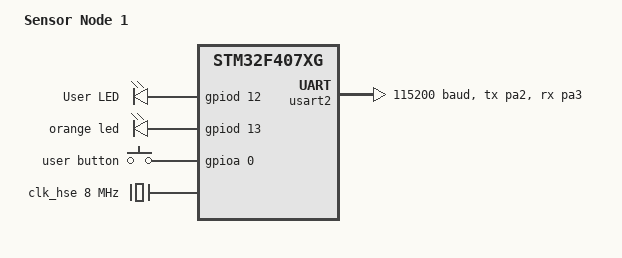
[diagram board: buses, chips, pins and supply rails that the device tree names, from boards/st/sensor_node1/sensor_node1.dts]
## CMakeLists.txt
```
cmake_minimum_required(VERSION 3.20.0)

# Makes this app's own boards/ directory discoverable to `west build -b ...`
list(APPEND BOARD_ROOT ${CMAKE_CURRENT_SOURCE_DIR})

find_package(Zephyr REQUIRED HINTS $ENV{ZEPHYR_BASE})
project(stm32_sensor_node)

# App sources
target_sources(app PRIVATE src/main.c)

# Include path for sn_logging.h
target_include_directories(app PRIVATE src/sn-logging)
```

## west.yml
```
manifest:
  version: "0.13"

  remotes:
    - name: zephyrproject-rtos
      url-base: https://github.com/zephyrproject-rtos

  projects:
    - name: zephyr
      remote: zephyrproject-rtos
      revision: v4.3.0
      import: true

  self:
    path: app
```

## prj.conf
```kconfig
# ====GPIO subsystem ======

# =====Logging=====
CONFIG_LOG=y
CONFIG_LOG_DEFAULT_LEVEL=3
CONFIG_LOG_MODE_IMMEDIATE=y
```

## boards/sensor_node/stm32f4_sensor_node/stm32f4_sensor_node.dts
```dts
/*
 * Copyright (c) 2017 Linaro Limited
 *
 * SPDX-License-Identifier: Apache-2.0
 */

/dts-v1/;
#include <st/f4/stm32f407Xg.dtsi>
#include <st/f4/stm32f407v(e-g)tx-pinctrl.dtsi>

/ {
	model = "STM32F4 Sensor Node";
	compatible = "sensor_node,stm32f4-sensor-node";

	chosen {
		zephyr,console = &usart2;
		zephyr,shell-uart = &usart2;
		zephyr,sram = &sram0;
		zephyr,flash = &flash0;
	};

	leds {
		compatible = "gpio-leds";

		green_led: led_0 {
			gpios = <&gpiod 12 GPIO_ACTIVE_HIGH>;
			label = "User LED";
		};
	};

	aliases {
		led0 = &green_led;
	};
};

&clk_hse {
	clock-frequency = <DT_FREQ_M(8)>;
	status = "okay";
};

&pll {
	div-m = <8>;
	mul-n = <336>;
	div-p = <2>;
	div-q = <7>;
	clocks = <&clk_hse>;
	status = "okay";
};

&rcc {
	clocks = <&pll>;
	clock-frequency = <DT_FREQ_M(168)>;
	ahb-prescaler = <1>;
	apb1-prescaler = <4>;
	apb2-prescaler = <2>;
};

&usart2 {
	pinctrl-0 = <&usart2_tx_pa2 &usart2_rx_pa3>;
	pinctrl-names = "default";
	current-speed = <115200>;
	status = "okay";
};
```

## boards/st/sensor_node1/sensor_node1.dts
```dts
/*
 * Copyright (c) 2017 Linaro Limited
 *
 * SPDX-License-Identifier: Apache-2.0
 */

/dts-v1/;
#include <st/f4/stm32f407Xg.dtsi>
#include <st/f4/stm32f407v(e-g)tx-pinctrl.dtsi>

/ {
	model = "Sensor Node 1";
	compatible = "st,sensor-node1";

	chosen {
		zephyr,console = &usart2;
		zephyr,shell-uart = &usart2;
		zephyr,sram = &sram0;
		zephyr,flash = &flash0;
	};

	/* Onboard LEDs - PD12/PD13 */
	leds {
		compatible = "gpio-leds";

		green_led: led_0 {
			gpios = <&gpiod 12 GPIO_ACTIVE_HIGH>;
			label = "User LED";
		};
		orange_led: led_1 {
			gpios = <&gpiod 13 GPIO_ACTIVE_HIGH>;
			label = "orange led";
		};
	};

	/* User button (B1) - PA0 */
	user_button {
		compatible = "gpio-keys";
		user_button1: button_1 {
			gpios = <&gpioa 0 GPIO_ACTIVE_HIGH>;
			label = "user button";
		};
	};

	aliases {
		led1 = &green_led;
		led2 = &orange_led;
		button1  = &user_button1;
	};
};

&clk_hse {
	clock-frequency = <DT_FREQ_M(8)>;
	status = "okay";
};

&pll {
	div-m = <8>;
	mul-n = <336>;
	div-p = <2>;
	div-q = <7>;
	clocks = <&clk_hse>;
	status = "okay";
};

&rcc {
	clocks = <&pll>;
	clock-frequency = <DT_FREQ_M(168)>;
	ahb-prescaler = <1>;
	apb1-prescaler = <4>;
	apb2-prescaler = <2>;
};

&usart2 {
	pinctrl-0 = <&usart2_tx_pa2 &usart2_rx_pa3>;
	pinctrl-names = "default";
	current-speed = <115200>;
	status = "okay";
};
```

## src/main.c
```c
#include <stdbool.h>
#include <zephyr/kernel.h>
#include <zephyr/drivers/gpio.h>

/* Logging setup */
#include "sn_logging.h"
LOG_MODULE_REGISTER(main, LOG_LEVEL_MAIN);

/* Devicetree aliases */
#define LED1_NODE   DT_ALIAS(led1)
#define LED2_NODE   DT_ALIAS(led2)
#define BUTTON_NODE DT_ALIAS(button1)

/* GPIO specs, resolved at compile time */
static const struct gpio_dt_spec led1 = GPIO_DT_SPEC_GET(LED1_NODE, gpios);
static const struct gpio_dt_spec led2 = GPIO_DT_SPEC_GET(LED2_NODE, gpios);
static const struct gpio_dt_spec button1 = GPIO_DT_SPEC_GET(BUTTON_NODE, gpios);

/* Shared with the button ISR , volatile since it's set from interrupt context */
static struct gpio_callback button_cb_data;
static volatile bool blink_enabled = true;

/* Button ISR callback */
void button_pressed(const struct device *dev, struct gpio_callback *cb, uint32_t pins)
{
	blink_enabled = !blink_enabled;
	LOG_DBG("blinking %s", blink_enabled ? "enabled" : "disabled");
}

int main(void)
{
	int ret;

	/* Readiness checks */
	if (!gpio_is_ready_dt(&led1)) {
		LOG_ERR("led1 not ready");
		return 0;
	}
	if (!gpio_is_ready_dt(&led2)) {
		LOG_ERR("led2 not ready");
		return 0;
	}
	if (!gpio_is_ready_dt(&button1)) {
		LOG_ERR("button1 not ready");
		return 0;
	}

	/* LED output config */
	ret = gpio_pin_configure_dt(&led1, GPIO_OUTPUT_ACTIVE);
	if (ret < 0) {
		LOG_ERR("led1 configure failed (%d)", ret);
		return 0;
	}
	ret = gpio_pin_configure_dt(&led2, GPIO_OUTPUT_ACTIVE);
	if (ret < 0) {
		LOG_ERR("led2 configure failed (%d)", ret);
		return 0;
	}

	/* Button input + interrupt config */
	ret = gpio_pin_configure_dt(&button1, GPIO_INPUT);
	if (ret < 0) {
		LOG_ERR("button1 configure failed (%d)", ret);
		return 0;
	}
	gpio_pin_interrupt_configure_dt(&button1, GPIO_INT_EDGE_TO_ACTIVE);

	/* Register the ISR callback */
	gpio_init_callback(&button_cb_data, button_pressed, BIT(button1.pin));
	gpio_add_callback(button1.port, &button_cb_data);

	/* Blink loop, gated by the button flag */
	while (1) {
		if (blink_enabled) {
			gpio_pin_toggle_dt(&led1);
			gpio_pin_toggle_dt(&led2);
		}
		k_msleep(500);
	}

	return 0;
}
```
